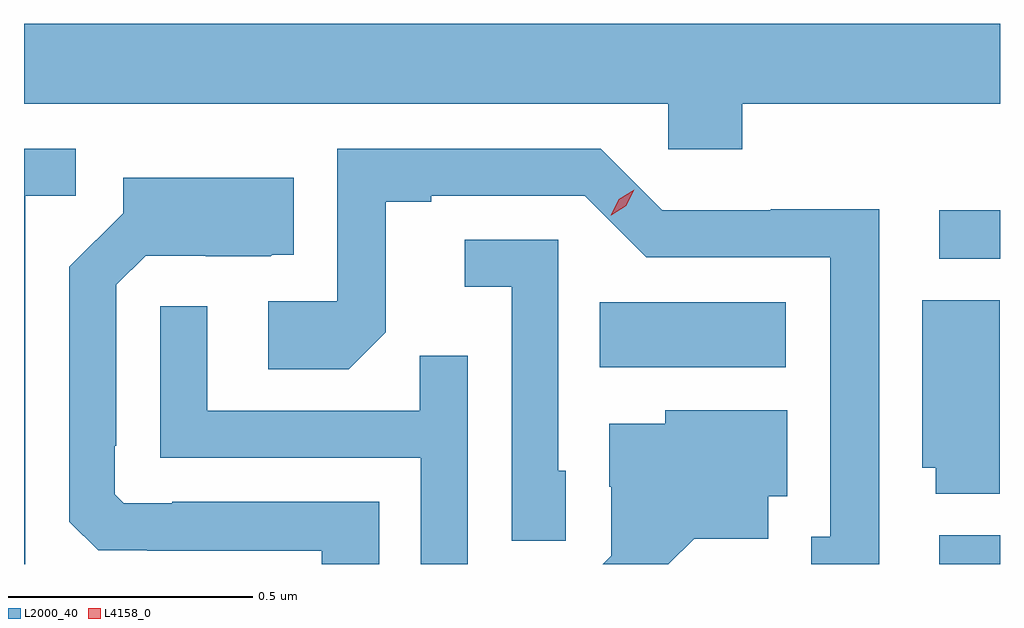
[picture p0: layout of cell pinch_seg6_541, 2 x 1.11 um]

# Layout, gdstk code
import gdstk
lib = gdstk.Library(unit=1e-6, precision=1e-09)
def R(c, l, rs):  # rectangles x0, y0, x1, y1
    for r in rs: c.add(gdstk.rectangle(r[:2], r[2:], *l))
def P(c, l, *ps):  # polygons
    for p in ps: c.add(gdstk.Polygon(p, *l))
L2000_40 = (2000, 40)
L4158_0 = (4158, 0)

pinch_seg6_541 = lib.new_cell('pinch_seg6_541')
R(pinch_seg6_541, L2000_40, [(767.877,941.065,768.002,941.124), (767.182,941.468,767.563,941.602), (767.877,941.691,768.002,941.79)])
P(pinch_seg6_541, L2000_40, [(767.474,942.008),(768.002,942.008),(768.002,942.172),(766.002,942.172),(766.002,942.008),(767.322,942.008),(767.322,941.915),(767.474,941.915)],
  [(766.005,941.82),(766.108,941.82),(766.108,941.916),(766.002,941.916),(766.002,941.065),(766.005,941.065)],
  [(767.755,941.792),(767.532,941.792),(767.532,941.79),(767.31,941.79),(767.184,941.916),(766.644,941.916),(766.644,941.604),(766.503,941.604),(766.503,941.464),(766.667,941.464),(766.743,941.54),(766.743,941.808),(766.837,941.808),(766.837,941.82),(767.151,941.82),(767.277,941.694),(767.654,941.694),(767.654,941.121),(767.615,941.121),(767.615,941.065),(767.755,941.065)],
  [(766.73,941.193),(766.306,941.193),(766.306,941.19),(766.206,941.19),(766.188,941.208),(766.188,941.308),(766.191,941.308),(766.191,941.637),(766.251,941.697),(766.374,941.697),(766.374,941.696),(766.508,941.696),(766.511,941.699),(766.555,941.699),(766.555,941.857),(766.205,941.857),(766.205,941.784),(766.095,941.674),(766.095,941.152),(766.154,941.093),(766.255,941.093),(766.255,941.092),(766.612,941.092),(766.612,941.065),(766.73,941.065)],
  [(767.112,941.256),(767.097,941.256),(767.097,941.73),(766.905,941.73),(766.905,941.633),(767.001,941.633),(767.001,941.113),(767.112,941.113)],
  [(768.001,941.606),(767.843,941.606),(767.843,941.262),(767.87,941.262),(767.87,941.209),(768.001,941.209)],
  [(766.911,941.492),(766.813,941.492),(766.813,941.379),(766.377,941.379),(766.377,941.593),(766.281,941.593),(766.281,941.283),(766.815,941.283),(766.815,941.065),(766.911,941.065)],
  [(767.375,941.117),(767.527,941.117),(767.527,941.204),(767.566,941.204),(767.566,941.38),(767.316,941.38),(767.316,941.353),(767.201,941.353),(767.201,941.224),(767.205,941.224),(767.205,941.082),(767.188,941.065),(767.322,941.065)])
P(pinch_seg6_541, L4158_0, [(767.204,941.78),(767.204,941.78),(767.221,941.813),(767.253,941.832),(767.253,941.832),(767.253,941.832),(767.236,941.799),(767.205,941.78)])

lib.write_gds('pinch_seg6_541.gds')
